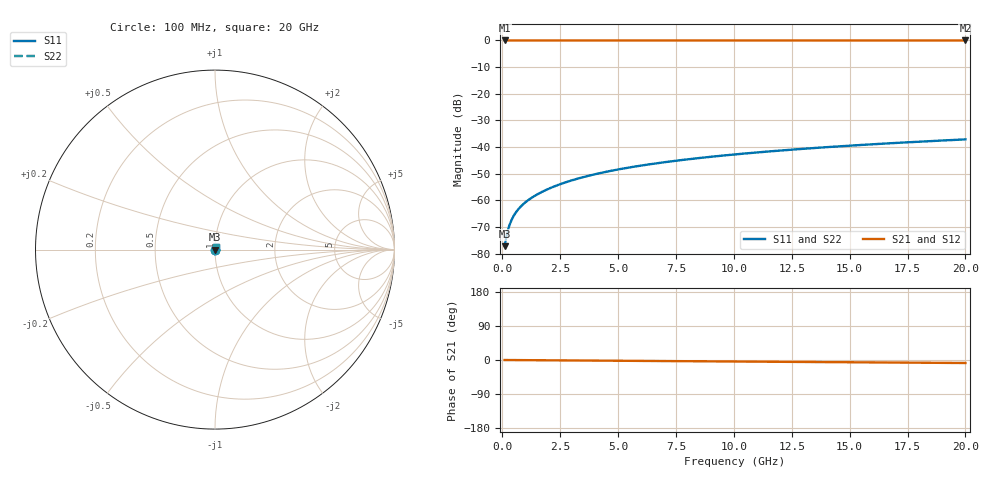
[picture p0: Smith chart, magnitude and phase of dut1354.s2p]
! Touchstone file exported from HFSS 2026.1.0
!  File:  C:/ffzhzh/LocalFiles/Ansys_Project_Files/temp_train_TSV_1354_1783195865_43440.aedt
!  Generated:  04:12:24 AM Jul  5, 2026
!  Design:  TSV
!  Project:  temp_train_TSV_1354_1783195865_43440
! Variables:
!  h_bsmrdl = 2um
!  h_ox = 20um
!  h_rdl = 5um
!  h_sub = 75.72um
!  h_tmrdl = 5um
!  h_tsv = 75.72um
!  h_via = 3um
!  l_bsmrdl = 300um
!  l_sub = 424.92um
!  l_tmrdl = 200um
!  m_sub = 200um
!  pitch = 55.4um
!  r_tsv = 12.46um
!  s_tmrdl = 10um
!  w_bsmrdl = 18um
!  w_sub = 500um
!  w_tmrdl = 12um
!  x_tsv_center1 = 206um
!  x_tsv_center2 = 524um
!  x_tsv_center3 = 736um
!  x_tsv_center4 = 1054um
!  x_tsv_center5 = 1266um
!  x_tsv_center6 = 1584um
# GHz S MA R 50.000000
! Terminal data exported
! Port[1] = TSV1_1_T1
! Port[2] = TSV1_1_T2
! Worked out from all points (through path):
!   200 points, 100 MHz to 20 GHz, reference 50 ohm
!   highest |S21| = 0.00 dB at 100 MHz (marker M1); lowest = 0.0 dB at 20 GHz (marker M2)
!   group delay of S21, straight-line fit = 1.1 ps
!   lowest |S11| = -77.2 dB at 100 MHz (marker M3), VSWR 1.00, Z = 50 + j0.0108 ohm
!   |S11| at or under -10 dB: start of sweep to end of sweep
!   |S22| runs from -77.2 to -37.1 dB; largest |S21 - S12| = 5e-15
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0.1  0.0001388 51.2  0.9999 -0.0  0.9999 -0.0  0.0001388 51.2
! Gamma 0 0 0 0
! Port Impedance 50 0 50 0
0.2  0.0002351 65.2  0.9999 -0.1  0.9999 -0.1  0.0002351 65.2
0.3  0.0003345 69.7  0.9999 -0.1  0.9999 -0.1  0.0003345 69.7
0.4  0.0004305 71.5  0.9999 -0.2  0.9999 -0.2  0.0004305 71.5
0.5  0.0005218 72.3  0.9998 -0.2  0.9998 -0.2  0.0005218 72.3
0.6  0.0006085 72.8  0.9998 -0.2  0.9998 -0.2  0.0006085 72.8
0.7  0.0006912 73.1  0.9998 -0.3  0.9998 -0.3  0.0006912 73.1
0.9  0.0008483 73.8  0.9998 -0.4  0.9998 -0.4  0.0008483 73.8
1.1  0.0009986 74.6  0.9997 -0.4  0.9997 -0.4  0.0009986 74.6
1.3  0.001146 75.3  0.9997 -0.5  0.9997 -0.5  0.001146 75.3
1.6  0.001364 76.3  0.9997 -0.6  0.9997 -0.6  0.001364 76.3
1.9  0.001581 77.2  0.9997 -0.8  0.9997 -0.8  0.001581 77.2
2.6  0.002089 78.6  0.9996 -1.0  0.9996 -1.0  0.002089 78.6
3.5  0.00274 79.6  0.9996 -1.4  0.9996 -1.4  0.00274 79.6
4.2  0.003241 80.0  0.9995 -1.7  0.9995 -1.7  0.003241 80.0
5  0.003809 80.3  0.9995 -2.0  0.9995 -2.0  0.003809 80.3
6.8  0.005067 80.5  0.9994 -2.7  0.9994 -2.7  0.005067 80.5
8.3  0.006101 80.4  0.9993 -3.3  0.9993 -3.3  0.006101 80.4
10.1  0.007332 80.2  0.9992 -4.0  0.9992 -4.0  0.007332 80.2
13.4  0.009568 79.6  0.9991 -5.3  0.9991 -5.3  0.009568 79.6
16.7  0.01178 78.8  0.999 -6.6  0.999 -6.6  0.01178 78.8
20  0.01395 77.8  0.9989 -7.9  0.9989 -7.9  0.01395 77.8
